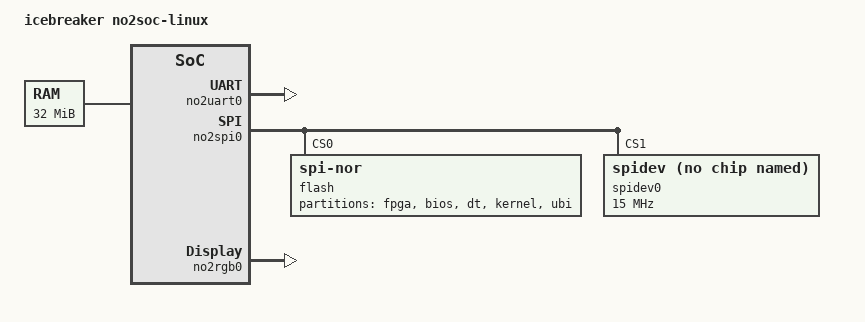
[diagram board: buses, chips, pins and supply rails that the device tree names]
/*
 * ice40 linux soc DTS
 */

/dts-v1/;

/ {
	#address-cells = <0x1>;
	#size-cells = <0x1>;
	compatible = "enjoy-digital,litex-vexriscv-soclinux";
	model = "icebreaker no2soc-linux";

	chosen {
		bootargs = "mem=32M@0x40000000 rootwait console=nitrouart earlycon=sbi ubi.mtd=5 root=ubi0:rootfs rootfstype=ubifs init=/sbin/init swiotlb=32";
		// bootargs = "mem=32M@0x40000000 rootwait console=nitrouart earlycon=sbi root=/dev/ram0 init=/sbin/init swiotlb=32";
		// linux,initrd-start = <0x40800000>;
		// linux,initrd-end   = <0x40d00000>;
	};

	cpus {
		#address-cells = <0x1>;
		#size-cells = <0x0>;
		timebase-frequency = <15000000>;

		cpu@0 {
			clock-frequency = <15000000>;
			compatible = "spinalhdl,vexriscv", "sifive,rocket0", "riscv";
			d-tlb-sets = <0x1>;
			d-tlb-size = <0x20>;
			device_type = "cpu";
			i-cache-block-size = <0x20>;
			i-cache-sets = <0x1>;
			i-cache-size = <0x800>;
			i-tlb-sets = <0x1>;
			i-tlb-size = <0x20>;
			mmu-type = "riscv,sv32";
			reg = <0x0>;
			riscv,isa = "rv32ia";
			sifive,itim = <0x1>;
			status = "okay";
			tlb-split;

			L0: interrupt-controller {
				#interrupt-cells = <0x00000001>;
				interrupt-controller;
				compatible = "riscv,cpu-intc";
			};
		};
	};

	memory@40000000 {
		device_type = "memory";
		reg = <0x40000000 0x2000000>;
	};

	/*
	reserved-memory {
		#address-cells = <1>;
		#size-cells    = <1>;
		ranges;
		vexriscv_emulator@{emulator_base:x} {
			reg = <0x{emulator_base:x} 0x{emulator_size:x}>;
		};
	};
	*/

	soc {
		#address-cells = <0x1>;
		#size-cells = <0x1>;
		bus-frequency = <15000000>;
		compatible = "simple-bus";
		ranges;

		intc0: interrupt-controller {
		   interrupt-controller;
			#interrupt-cells = <1>;
		   compatible = "vexriscv,intc0";
		   status = "okay";
	   };

		no2uart0: uart@81000000 {
			device_type = "serial";
			compatible = "no2fpga,no2uart";
			reg = <0x81000000 0x100>;
			status = "okay";
		};

		no2spi0: spi@82000000 {
			compatible = "no2fpga,no2spi-simple";
			reg = <0x82000000 0x100>;
			status = "okay";

			no2fpga,num-cs = <2>;
			no2fpga,sck-frequency = <15000000>;

			#address-cells = <1>;
			#size-cells    = <0>;

			flash: flash@0 {
				compatible = "spi-nor";
				reg = <0x0>;

				#address-cells = <0x1>;
				#size-cells    = <0x1>;

				partition@0 {
					label = "fpga";
					reg = <0x00000000 0x00020000>;
				};

				partition@20000 {
					label = "bios";
					reg = <0x00020000 0x00010000>;
				};

				partition@30000 {
					label = "dt";
					reg = <0x00030000 0x00010000>;
				};

				partition@40000 {
					label = "kernel";
					reg = <0x00040000 0x005c0000>;
				};

				partition@600000 {
					label = "ubi";
					reg = <0x00600000 0x00a00000>;
				};
		   };

			spidev0: spidev@1 {
				compatible = "linux,spidev";
				reg = <1>;
				spi-max-frequency = <15000000>;
				status = "okay";
			 };
		 };

		no2rgb0: rgb@83000000 {
			compatible = "no2fpga,no2ice40-rgb";
			reg = <0x83000000 0x100>;
			status = "okay";

			timebase-frequency = <15000000>;
			no2,hw-blink = <1>;

			#address-cells = <1>;
			#size-cells = <0>;

			led@0 {
				label = "red";
				reg = <0>;
				color = <1>; // LED_COLOR_ID_RED
				linux,default-trigger = "panic";
				// panic trigger doesn't support brightness control ... none/full only
			};

			led@1 {
				label = "blue";
				reg = <1>;
				color = <3>; // LED_COLOR_ID_BLUE
				linux,default-trigger = "heartbeat";
				blink-brightness = <20>;
			};

			led@2 {
				label = "green";
				reg = <2>;
				color = <2>; // LED_COLOR_ID_GREEN
				linux,default-trigger = "mtd";
				blink-brightness = <20>;
			};
		 };
	};

	aliases {
		serial0 = &no2uart0;
	};
};
